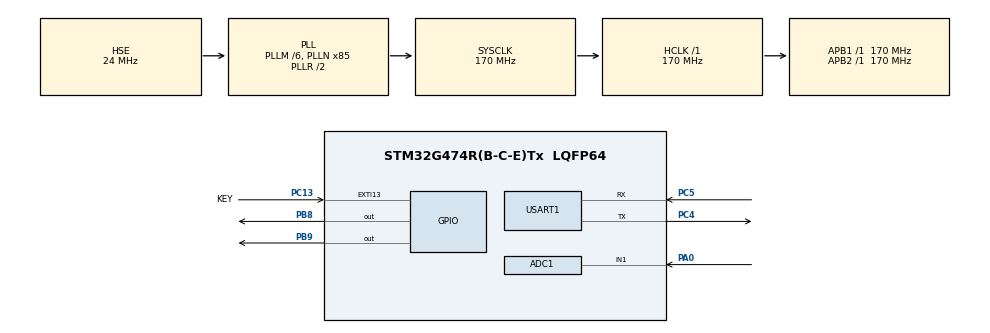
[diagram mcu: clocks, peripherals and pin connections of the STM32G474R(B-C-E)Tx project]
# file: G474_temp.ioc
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ADC1.Channel-0\#ChannelRegularConversion=ADC_CHANNEL_1
ADC1.ContinuousConvMode=DISABLE
ADC1.DMAContinuousRequests=DISABLE
ADC1.ExternalTrigConv=ADC_EXTERNALTRIG_T3_TRGO
ADC1.NbrOfConversionFlag=1
ADC1.OffsetNumber-0\#ChannelRegularConversion=ADC_OFFSET_NONE
ADC1.Rank-0\#ChannelRegularConversion=1
ADC1.SamplingTime-0\#ChannelRegularConversion=ADC_SAMPLETIME_2CYCLES_5
ADC1.master=1
Dma.ADC1.0.Direction=DMA_PERIPH_TO_MEMORY
Dma.ADC1.0.EventEnable=DISABLE
Dma.ADC1.0.Instance=DMA1_Channel1
Dma.ADC1.0.MemDataAlignment=DMA_MDATAALIGN_HALFWORD
Dma.ADC1.0.MemInc=DMA_MINC_ENABLE
Dma.ADC1.0.Mode=DMA_CIRCULAR
Dma.ADC1.0.PeriphDataAlignment=DMA_PDATAALIGN_HALFWORD
Dma.ADC1.0.PeriphInc=DMA_PINC_DISABLE
Dma.ADC1.0.Polarity=HAL_DMAMUX_REQ_GEN_RISING
Dma.ADC1.0.Priority=DMA_PRIORITY_LOW
Dma.ADC1.0.RequestNumber=1
Dma.ADC1.0.SignalID=NONE
Dma.ADC1.0.SyncEnable=DISABLE
Dma.ADC1.0.SyncPolarity=HAL_DMAMUX_SYNC_NO_EVENT
Dma.ADC1.0.SyncRequestNumber=1
Dma.ADC1.0.SyncSignalID=NONE
Dma.Request0=ADC1
Mcu.Family=STM32G4
Mcu.Name=STM32G474R(B-C-E)Tx
Mcu.Package=LQFP64
NVIC.DMA1_Channel1_IRQn=true\:0\:0\:false\:false\:true\:false\:true\:true
NVIC.EXTI15_10_IRQn=true\:0\:0\:false\:false\:true\:true\:true\:true
NVIC.PriorityGroup=NVIC_PRIORITYGROUP_4
NVIC.USART1_IRQn=true\:0\:0\:false\:false\:true\:true\:true\:true
PA0.Mode=IN1-Single-Ended
PA0.Signal=ADC1_IN1
PA13.Mode=Serial_Wire
PA13.Signal=SYS_JTMS-SWDIO
PA14.Mode=Serial_Wire
PA14.Signal=SYS_JTCK-SWCLK
PB8-BOOT0.GPIO_FM8=__NULL
PB8-BOOT0.GPIO_ModeDefaultOutputPP=GPIO_MODE_OUTPUT_OD
PB8-BOOT0.GPIO_PuPd=GPIO_PULLUP
PB8-BOOT0.GPIO_Speed=GPIO_SPEED_FREQ_VERY_HIGH
PB8-BOOT0.Signal=GPIO_Output
PB9.GPIO_ModeDefaultOutputPP=GPIO_MODE_OUTPUT_OD
PB9.GPIO_PuPd=GPIO_PULLUP
PB9.GPIO_Speed=GPIO_SPEED_FREQ_VERY_HIGH
PB9.Signal=GPIO_Output
PC13.GPIO_Label=KEY
PC13.Signal=GPXTI13
PC14-OSC32_IN.Mode=LSE-External-Oscillator
PC14-OSC32_IN.Signal=RCC_OSC32_IN
PC15-OSC32_OUT.Mode=LSE-External-Oscillator
PC15-OSC32_OUT.Signal=RCC_OSC32_OUT
PC4.Mode=Asynchronous
PC4.Signal=USART1_TX
PC5.Mode=Asynchronous
PC5.Signal=USART1_RX
PF0-OSC_IN.Mode=HSE-External-Oscillator
PF0-OSC_IN.Signal=RCC_OSC_IN
PF1-OSC_OUT.Mode=HSE-External-Oscillator
PF1-OSC_OUT.Signal=RCC_OSC_OUT
ProjectManager.HeapSize=0x200
ProjectManager.StackSize=0x400
ProjectManager.TargetToolchain=MDK-ARM V5.32
RCC.ADC12Freq_Value=170000000
RCC.ADC345Freq_Value=170000000
RCC.AHBFreq_Value=170000000
RCC.APB1Freq_Value=170000000
RCC.APB1TimFreq_Value=170000000
RCC.APB2Freq_Value=170000000
RCC.APB2TimFreq_Value=170000000
RCC.CortexFreq_Value=170000000
RCC.EXTERNAL_CLOCK_VALUE=12288000
RCC.HCLKFreq_Value=170000000
RCC.HSE_VALUE=24000000
RCC.HSI48_VALUE=48000000
RCC.HSI_VALUE=16000000
RCC.PLLM=RCC_PLLM_DIV6
RCC.PLLN=85
RCC.PLLSourceVirtual=RCC_PLLSOURCE_HSE
RCC.RTCClockSelection=RCC_RTCCLKSOURCE_LSE
RCC.SYSCLKFreq_VALUE=170000000
RCC.SYSCLKSource=RCC_SYSCLKSOURCE_PLLCLK
RCC.USBFreq_Value=170000000
RCC.VCOOutputFreq_Value=340000000
STMicroelectronics.X-CUBE-ALGOBUILD.1.3.0.LibraryCcDSPOoLibraryJjDSPOoLibrary=true
TIM3.TIM_MasterOutputTrigger=TIM_TRGO_UPDATE
USART1.VirtualMode-Asynchronous=VM_ASYNC
VP_STMicroelectronics.X-CUBE-ALGOBUILD_VS_DSPOoLibraryJjLibrary_1.3.0_1.3.0.Mode=DSPOoLibraryJjLibrary
VP_SYS_VS_DBSignals.Mode=DisableDeadBatterySignals
VP_TIM3_VS_ClockSourceINT.Mode=Internal
board=NUCLEO-G474RE

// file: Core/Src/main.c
/* USER CODE BEGIN Header */
/**
  ******************************************************************************
  * @file           : main.c
  * @brief          : Main program body
  ******************************************************************************
  * @attention
  *
  * Copyright (c) 2023 STMicroelectronics.
  * All rights reserved.
  *
  * This software is licensed under terms that can be found in the LICENSE file
  * in the root directory of this software component.
  * If no LICENSE file comes with this software, it is provided AS-IS.
  *
  ******************************************************************************
  */
/* USER CODE END Header */
#include "main.h"
#include "adc.h"
#include "dma.h"
#include "tim.h"
#include "usart.h"
#include "gpio.h"

/* USER CODE BEGIN Includes */
#include "delay.h"
#include "myusart1.h"
#include "OLED_I2C.h"
#include "FFT.h"
/* USER CODE END Includes */

void SystemClock_Config(void);

int main(void)
{

  /* MCU Configuration--------------------------------------------------------*/

  /* Reset of all peripherals, Initializes the Flash interface and the Systick. */
  HAL_Init();

  /* Configure the system clock */
  SystemClock_Config();

  /* Initialize all configured peripherals */
  MX_GPIO_Init();
  MX_DMA_Init();
  MX_USART1_UART_Init();
  MX_ADC1_Init();
  MX_TIM3_Init();
  /* USER CODE BEGIN 2 */
  delay_init(170);
  MyUSART1_Init(&huart1);
  OLED_Init();
  OLED_CLS();
  BackGround();

  ADC_Init();
  /* USER CODE END 2 */

  /* Infinite loop */
  while (1)
  {

  }
}

void SystemClock_Config(void)
{
  RCC_OscInitTypeDef RCC_OscInitStruct = {0};
  RCC_ClkInitTypeDef RCC_ClkInitStruct = {0};

  /** Configure the main internal regulator output voltage
  */
  HAL_PWREx_ControlVoltageScaling(PWR_REGULATOR_VOLTAGE_SCALE1_BOOST);

  /** Initializes the RCC Oscillators according to the specified parameters
  * in the RCC_OscInitTypeDef structure.
  */
  RCC_OscInitStruct.OscillatorType = RCC_OSCILLATORTYPE_HSE;
  RCC_OscInitStruct.HSEState = RCC_HSE_ON;
  RCC_OscInitStruct.PLL.PLLState = RCC_PLL_ON;
  RCC_OscInitStruct.PLL.PLLSource = RCC_PLLSOURCE_HSE;
  RCC_OscInitStruct.PLL.PLLM = RCC_PLLM_DIV6;
  RCC_OscInitStruct.PLL.PLLN = 85;
  RCC_OscInitStruct.PLL.PLLP = RCC_PLLP_DIV2;
  RCC_OscInitStruct.PLL.PLLQ = RCC_PLLQ_DIV2;
  RCC_OscInitStruct.PLL.PLLR = RCC_PLLR_DIV2;
  if (HAL_RCC_OscConfig(&RCC_OscInitStruct) != HAL_OK)
  {
    Error_Handler();
  }

  /** Initializes the CPU, AHB and APB buses clocks
  */
  RCC_ClkInitStruct.ClockType = RCC_CLOCKTYPE_HCLK|RCC_CLOCKTYPE_SYSCLK
                              |RCC_CLOCKTYPE_PCLK1|RCC_CLOCKTYPE_PCLK2;
  RCC_ClkInitStruct.SYSCLKSource = RCC_SYSCLKSOURCE_PLLCLK;
  RCC_ClkInitStruct.AHBCLKDivider = RCC_SYSCLK_DIV1;
  RCC_ClkInitStruct.APB1CLKDivider = RCC_HCLK_DIV1;
  RCC_ClkInitStruct.APB2CLKDivider = RCC_HCLK_DIV1;

  if (HAL_RCC_ClockConfig(&RCC_ClkInitStruct, FLASH_LATENCY_4) != HAL_OK)
  {
    Error_Handler();
  }
}

/* USER CODE BEGIN 4 */
void HAL_GPIO_EXTI_Callback(uint16_t GPIO_PIN)
{
	if(KEY_Pin)
	{

	}
}

void HAL_ADC_ConvCpltCallback(ADC_HandleTypeDef *hadc)
{
	if(hadc == &hadc1)
	{
		fft();
	}
//	ADC_Get();
}
/* USER CODE END 4 */

void Error_Handler(void)
{
  __disable_irq();
  while (1)
  {
  }
}
